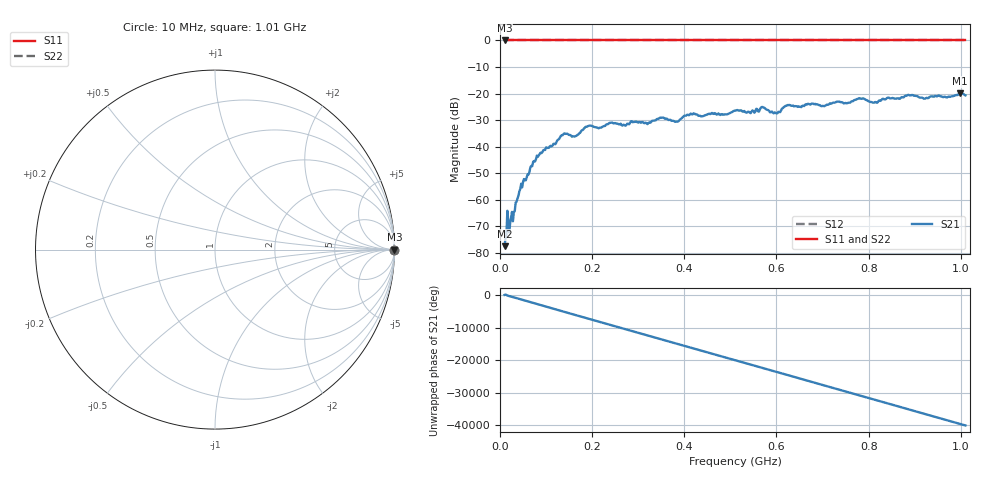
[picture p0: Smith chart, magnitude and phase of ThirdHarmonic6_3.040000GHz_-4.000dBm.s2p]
! 8/17/2025 8:48:00 AM
! C:\ANRITSUVNA\TEMP\TEMP.S2P
! CHANNEL.1
! TR.MEASUREMENT
! RAW.DATA
! RF.CORRECTION.OFF
! AVERAGING.OFF
! IF.BANDWIDTH: 5KHZ
! SWEEPTYPE:  FREQ.SWEEP(Linear)
! Reference Plane Port Info
! PORT:  PORT1  PORT2
! DISTANCE:  0  m  0  m
! TIME:  0  s  0  s
! PHASE.OFFSET:  0  deg.  0  deg.
! LOSS:  0  dB  0  dB
! REF.LOSS:  0  dB  0  dB
! REF.FREQ:  0  Hz  0  Hz
! Power Info
! POWER:  -20  dBm  -20  dBm
! EFF.POWER:  -20  dBm  -20  dBm
! SOURCE.ATTEN:  0  dB  0  dB
! TEST.ATTEN:  0  dB  0  dB
# GHZ S RI R 50.0
! FREQ.GHZ  S11RE  S11IM  S21RE  S21IM  S12RE  S12IM  S22RE  S22IM
!; PortSelection: Port_12
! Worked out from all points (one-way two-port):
!   501 points, 10 MHz to 1.01 GHz, reference 50 ohm
!   highest |S21| = -19.86 dB at 998 MHz (marker M1); lowest = -77.4 dB at 10 MHz (marker M2)
!   lowest |S11| = 0.0 dB at 10 MHz (marker M3)
!   |S11| at or under -10 dB: nowhere
!   |S22| runs from 0.0 to 0.0 dB; largest |S21 - S12| = 1.1
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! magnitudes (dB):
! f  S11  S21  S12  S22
! 10 MHz  0.0  -77.4  0.0  0.0
! 14 MHz  0.0  -73.0  0.0  0.0
! 20 MHz  0.0  -72.2  0.0  0.0
! 24 MHz  0.0  -66.8  0.0  0.0
! 42 MHz  0.0  -56.8  0.0  0.0
! 76 MHz  0.0  -45.5  0.0  0.0
! 136 MHz  0.0  -35.6  0.0  0.0
! 162 MHz  0.0  -36.2  0.0  0.0
! 178 MHz  0.0  -33.8  0.0  0.0
! 194 MHz  0.0  -32.0  0.0  0.0
! 322 MHz  0.0  -31.1  0.0  0.0
! 344 MHz  0.0  -29.5  0.0  0.0
! 384 MHz  0.0  -30.5  0.0  0.0
! 416 MHz  0.0  -27.8  0.0  0.0
! 510 MHz  0.0  -26.4  0.0  0.0
! 570 MHz  0.0  -25.0  0.0  0.0
! 598 MHz  0.0  -27.2  0.0  0.0
! 624 MHz  0.0  -24.3  0.0  0.0
! 678 MHz  0.0  -23.7  0.0  0.0
! 844 MHz  0.0  -21.5  0.0  0.0
! 998 MHz  0.0  -19.9  0.0  0.0
! 1.01 GHz  0.0  -20.7  0.0  0.0
